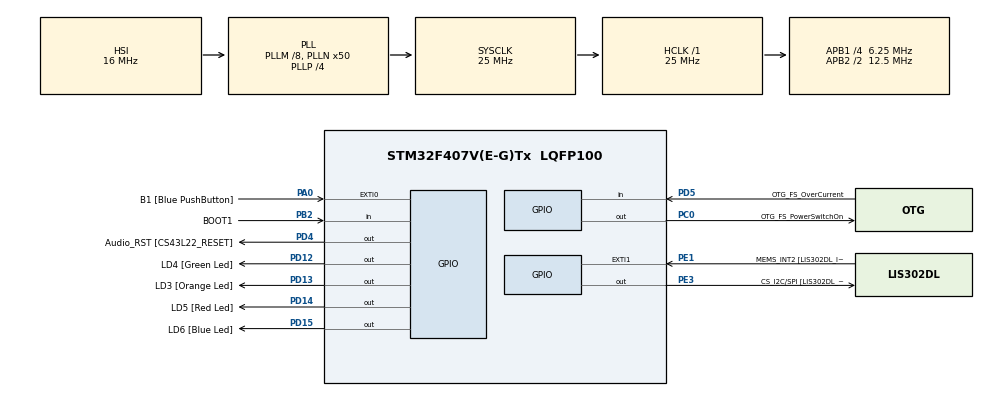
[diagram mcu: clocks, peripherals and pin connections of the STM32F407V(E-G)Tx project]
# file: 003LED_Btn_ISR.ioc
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Mcu.Family=STM32F4
Mcu.Name=STM32F407V(E-G)Tx
Mcu.Package=LQFP100
NVIC.EXTI0_IRQn=true\:6\:0\:true\:false\:true\:true\:true\:true
NVIC.PriorityGroup=NVIC_PRIORITYGROUP_4
NVIC.TIM6_DAC_IRQn=true\:0\:0\:false\:false\:true\:false\:true\:true
NVIC.TimeBase=TIM6_DAC_IRQn
NVIC.TimeBaseIP=TIM6
PA0-WKUP.GPIO_Label=B1 [Blue PushButton]
PA0-WKUP.GPIO_ModeDefaultEXTI=GPIO_MODE_IT_FALLING
PA0-WKUP.Signal=GPXTI0
PA10.GPIO_Label=OTG_FS_ID
PA10.GPIO_Mode=GPIO_MODE_AF_PP
PA10.GPIO_PuPd=GPIO_NOPULL
PA10.GPIO_Speed=GPIO_SPEED_FREQ_LOW
PA10.Signal=USB_OTG_FS_ID
PA11.GPIO_Label=OTG_FS_DM
PA11.GPIO_Mode=GPIO_MODE_AF_PP
PA11.GPIO_PuPd=GPIO_NOPULL
PA11.GPIO_Speed=GPIO_SPEED_FREQ_LOW
PA11.Signal=USB_OTG_FS_DM
PA12.GPIO_Label=OTG_FS_DP
PA12.GPIO_Mode=GPIO_MODE_AF_PP
PA12.GPIO_PuPd=GPIO_NOPULL
PA12.GPIO_Speed=GPIO_SPEED_FREQ_LOW
PA12.Signal=USB_OTG_FS_DP
PA13.GPIO_Label=SWDIO
PA13.Signal=SYS_JTMS-SWDIO
PA14.GPIO_Label=SWCLK
PA14.Signal=SYS_JTCK-SWCLK
PA4.GPIO_Label=I2S3_WS [CS43L22_LRCK]
PA4.GPIO_Mode=GPIO_MODE_AF_PP
PA4.GPIO_PuPd=GPIO_NOPULL
PA4.GPIO_Speed=GPIO_SPEED_FREQ_LOW
PA4.Signal=I2S3_WS
PA5.GPIO_Label=SPI1_SCK [LIS302DL_SCL/SPC]
PA5.GPIO_Mode=GPIO_MODE_AF_PP
PA5.GPIO_PuPd=GPIO_NOPULL
PA5.GPIO_Speed=GPIO_SPEED_FREQ_LOW
PA5.Signal=SPI1_SCK
PA6.GPIO_Label=SPI1_MISO [LIS302DL_SDO]
PA6.GPIO_Mode=GPIO_MODE_AF_PP
PA6.GPIO_PuPd=GPIO_NOPULL
PA6.GPIO_Speed=GPIO_SPEED_FREQ_LOW
PA6.Signal=SPI1_MISO
PA7.GPIO_Label=SPI1_MOSI [LIS302DL_SDA/SDI/SDO]
PA7.GPIO_Mode=GPIO_MODE_AF_PP
PA7.GPIO_PuPd=GPIO_NOPULL
PA7.GPIO_Speed=GPIO_SPEED_FREQ_LOW
PA7.Signal=SPI1_MOSI
PA9.GPIO_Label=VBUS_FS
PA9.GPIO_Mode=GPIO_MODE_INPUT
PA9.GPIO_PuPd=GPIO_NOPULL
PA9.Signal=USB_OTG_FS_VBUS
PB10.GPIO_Label=CLK_IN [MP45DT02_CLK]
PB10.GPIO_Mode=GPIO_MODE_AF_PP
PB10.GPIO_PuPd=GPIO_NOPULL
PB10.GPIO_Speed=GPIO_SPEED_FREQ_LOW
PB10.Signal=I2S2_CK
PB2.GPIO_Label=BOOT1
PB2.GPIO_Mode=GPIO_MODE_INPUT
PB2.GPIO_PuPd=GPIO_NOPULL
PB2.Signal=GPIO_Input
PB3.GPIO_Label=SWO
PB3.Signal=SYS_JTDO-SWO
PB6.GPIO_Label=Audio_SCL [CS43L22_SCL]
PB6.GPIO_Mode=GPIO_MODE_AF_OD
PB6.GPIO_PuPd=GPIO_NOPULL
PB6.GPIO_Speed=GPIO_SPEED_FREQ_LOW
PB6.Signal=I2C1_SCL
PB9.GPIO_Label=Audio_SDA [CS43L22_SDA]
PB9.GPIO_Mode=GPIO_MODE_AF_OD
PB9.GPIO_PuPd=GPIO_NOPULL
PB9.GPIO_Speed=GPIO_SPEED_FREQ_LOW
PB9.Signal=I2C1_SDA
PC0.GPIO_Label=OTG_FS_PowerSwitchOn
PC0.GPIO_PuPd=GPIO_NOPULL
PC0.GPIO_Speed=GPIO_SPEED_FREQ_LOW
PC0.PinState=GPIO_PIN_SET
PC0.Signal=GPIO_Output
PC10.GPIO_Label=I2S3_SCK [CS43L22_SCLK]
PC10.GPIO_Mode=GPIO_MODE_AF_PP
PC10.GPIO_PuPd=GPIO_NOPULL
PC10.GPIO_Speed=GPIO_SPEED_FREQ_LOW
PC10.Signal=I2S3_CK
PC12.GPIO_Label=I2S3_SD [CS43L22_SDIN]
PC12.GPIO_Mode=GPIO_MODE_AF_PP
PC12.GPIO_PuPd=GPIO_NOPULL
PC12.GPIO_Speed=GPIO_SPEED_FREQ_LOW
PC12.Signal=I2S3_SD
PC14-OSC32_IN.GPIO_Label=PC14-OSC32_IN
PC14-OSC32_IN.Signal=RCC_OSC32_IN
PC15-OSC32_OUT.GPIO_Label=PC15-OSC32_OUT
PC15-OSC32_OUT.Signal=RCC_OSC32_OUT
PC3.GPIO_Label=PDM_OUT [MP45DT02_DOUT]
PC3.GPIO_Mode=GPIO_MODE_AF_PP
PC3.GPIO_PuPd=GPIO_NOPULL
PC3.GPIO_Speed=GPIO_SPEED_FREQ_LOW
PC3.Signal=I2S2_SD
PC7.GPIO_Label=I2S3_MCK [CS43L22_MCLK]
PC7.GPIO_Mode=GPIO_MODE_AF_PP
PC7.GPIO_PuPd=GPIO_NOPULL
PC7.GPIO_Speed=GPIO_SPEED_FREQ_LOW
PC7.Signal=I2S3_MCK
PD12.GPIO_Label=LD4 [Green Led]
PD12.GPIO_PuPd=GPIO_NOPULL
PD12.GPIO_Speed=GPIO_SPEED_FREQ_LOW
PD12.Signal=GPIO_Output
PD13.GPIO_Label=LD3 [Orange Led]
PD13.GPIO_PuPd=GPIO_NOPULL
PD13.GPIO_Speed=GPIO_SPEED_FREQ_LOW
PD13.Signal=GPIO_Output
PD14.GPIO_Label=LD5 [Red Led]
PD14.GPIO_PuPd=GPIO_NOPULL
PD14.GPIO_Speed=GPIO_SPEED_FREQ_LOW
PD14.Signal=GPIO_Output
PD15.GPIO_Label=LD6 [Blue Led]
PD15.GPIO_PuPd=GPIO_NOPULL
PD15.GPIO_Speed=GPIO_SPEED_FREQ_LOW
PD15.Signal=GPIO_Output
PD4.GPIO_Label=Audio_RST [CS43L22_RESET]
PD4.GPIO_PuPd=GPIO_NOPULL
PD4.GPIO_Speed=GPIO_SPEED_FREQ_LOW
PD4.Signal=GPIO_Output
PD5.GPIO_Label=OTG_FS_OverCurrent
PD5.GPIO_Mode=GPIO_MODE_INPUT
PD5.GPIO_PuPd=GPIO_NOPULL
PD5.Signal=GPIO_Input
PE1.GPIO_Label=MEMS_INT2 [LIS302DL_INT2]
PE1.GPIO_ModeDefaultEXTI=GPIO_MODE_EVT_RISING
PE1.GPIO_PuPd=GPIO_NOPULL
PE1.Signal=GPXTI1
PE3.GPIO_Label=CS_I2C/SPI [LIS302DL_CS_I2C/SPI]
PE3.GPIO_PuPd=GPIO_NOPULL
PE3.GPIO_Speed=GPIO_SPEED_FREQ_LOW
PE3.Signal=GPIO_Output
PH0-OSC_IN.GPIO_Label=PH0-OSC_IN
PH0-OSC_IN.Signal=RCC_OSC_IN
PH1-OSC_OUT.GPIO_Label=PH1-OSC_OUT
PH1-OSC_OUT.Signal=RCC_OSC_OUT
ProjectManager.HeapSize=0x200
ProjectManager.StackSize=0x400
ProjectManager.TargetToolchain=STM32CubeIDE
RCC.48MHZClocksFreq_Value=14285714.285714285
RCC.AHBFreq_Value=25000000
RCC.APB1CLKDivider=RCC_HCLK_DIV4
RCC.APB1Freq_Value=6250000
RCC.APB1TimFreq_Value=12500000
RCC.APB2CLKDivider=RCC_HCLK_DIV2
RCC.APB2Freq_Value=12500000
RCC.APB2TimFreq_Value=25000000
RCC.CortexFreq_Value=25000000
RCC.HCLKFreq_Value=25000000
RCC.HSE_VALUE=8000000
RCC.HSI_VALUE=16000000
RCC.LSE_VALUE=32768
RCC.PLLM=8
RCC.PLLN=50
RCC.PLLP=RCC_PLLP_DIV4
RCC.PLLQ=7
RCC.SYSCLKFreq_VALUE=25000000
RCC.SYSCLKSource=RCC_SYSCLKSOURCE_PLLCLK
RCC.VCOOutputFreq_Value=100000000
VP_SYS_VS_tim6.Mode=TIM6
board=STM32F407G-DISC1

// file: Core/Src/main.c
/* USER CODE BEGIN Header */
/**
  ******************************************************************************
  * @file           : main.c
  * @brief          : Main program body
  ******************************************************************************
  * @attention
  *
  * Copyright (c) 2026 STMicroelectronics.
  * All rights reserved.
  *
  * This software is licensed under terms that can be found in the LICENSE file
  * in the root directory of this software component.
  * If no LICENSE file comes with this software, it is provided AS-IS.
  *
  ******************************************************************************
  */
/* USER CODE END Header */
#include "main.h"

/* USER CODE BEGIN Includes */
#include "FreeRTOS.h"
#include "task.h"
#include <stdio.h>
#include "semphr.h"
#include <stdlib.h>
/* USER CODE END Includes */

/* USER CODE BEGIN PD */
#define DWT_CTRL (*(volatile uint32_t*)0xE0001000)
/* USER CODE END PD */

void SystemClock_Config(void);
//static void MX_GPIO_Init(void);
/* USER CODE BEGIN PFP */
static void manager_task_handler(void *Parameters);
static void employee_task_handler(void *Parameters);

/*Declare variable of type xSemaphoreHanddle that is used to reference the semaphore that is created to synchronize the two tasks. */
xSemaphoreHandle xWork;
/*create the queue which the manager uses to put the work id that will be used by the employee */
xQueueHandle xWorkQueue;
/* USER CODE END PFP */

int main(void)
{

  /* USER CODE BEGIN 1 */
  TaskHandle_t ManagerTask;
  TaskHandle_t EmployeeTask;
  BaseType_t status;
  /* USER CODE END 1 */

  /* MCU Configuration--------------------------------------------------------*/

  /* Reset of all peripherals, Initializes the Flash interface and the Systick. */
  HAL_Init();

  /* Configure the system clock */
  SystemClock_Config();

  /* Initialize all configured peripherals */

  /* USER CODE BEGIN 2 */
  DWT_CTRL |= (1 << 0);

  /*Dynamic allocation SCB(Semaphore Control Block) on heap */
  vSemaphoreCreateBinary(xWork);

  /* Holds one element and of size of unsigned int */
  xWorkQueue = xQueueCreate(1,sizeof(unsigned int));

  /*Check if the semaphore and queue actually got created and then create the task after that.*/
  if((xWork != NULL) && (xWorkQueue != NULL))
  {
	    status = xTaskCreate(manager_task_handler,"ManageraTask",500,NULL,3,&ManagerTask);
	    configASSERT(status == pdPASS);

	    status =xTaskCreate(employee_task_handler,"EmployeeTask",500,NULL,1,&EmployeeTask);
	    configASSERT(status);

	    //Start the scheduler
	    vTaskStartScheduler();
  }

  /* USER CODE END 2 */

  /* Infinite loop */
  while (1)
  {

  }
}

void SystemClock_Config(void)
{
  RCC_OscInitTypeDef RCC_OscInitStruct = {0};
  RCC_ClkInitTypeDef RCC_ClkInitStruct = {0};

  /** Configure the main internal regulator output voltage
  */
  __HAL_RCC_PWR_CLK_ENABLE();
  __HAL_PWR_VOLTAGESCALING_CONFIG(PWR_REGULATOR_VOLTAGE_SCALE1);

  /** Initializes the RCC Oscillators according to the specified parameters
  * in the RCC_OscInitTypeDef structure.
  */
  RCC_OscInitStruct.OscillatorType = RCC_OSCILLATORTYPE_HSI;
  RCC_OscInitStruct.HSIState = RCC_HSI_ON;
  RCC_OscInitStruct.HSICalibrationValue = RCC_HSICALIBRATION_DEFAULT;
  RCC_OscInitStruct.PLL.PLLState = RCC_PLL_ON;
  RCC_OscInitStruct.PLL.PLLSource = RCC_PLLSOURCE_HSI;
  RCC_OscInitStruct.PLL.PLLM = 8;
  RCC_OscInitStruct.PLL.PLLN = 50;
  RCC_OscInitStruct.PLL.PLLP = RCC_PLLP_DIV4;
  RCC_OscInitStruct.PLL.PLLQ = 7;
  if (HAL_RCC_OscConfig(&RCC_OscInitStruct) != HAL_OK)
  {
    Error_Handler();
  }

  /** Initializes the CPU, AHB and APB buses clocks
  */
  RCC_ClkInitStruct.ClockType = RCC_CLOCKTYPE_HCLK|RCC_CLOCKTYPE_SYSCLK
                              |RCC_CLOCKTYPE_PCLK1|RCC_CLOCKTYPE_PCLK2;
  RCC_ClkInitStruct.SYSCLKSource = RCC_SYSCLKSOURCE_PLLCLK;
  RCC_ClkInitStruct.AHBCLKDivider = RCC_SYSCLK_DIV1;
  RCC_ClkInitStruct.APB1CLKDivider = RCC_HCLK_DIV4;
  RCC_ClkInitStruct.APB2CLKDivider = RCC_HCLK_DIV2;

  if (HAL_RCC_ClockConfig(&RCC_ClkInitStruct, FLASH_LATENCY_0) != HAL_OK)
  {
    Error_Handler();
  }
}

//static void MX_GPIO_Init(void)
//{
//  GPIO_InitTypeDef GPIO_InitStruct = {0};
//  /* USER CODE BEGIN MX_GPIO_Init_1 */
//
//  /* USER CODE END MX_GPIO_Init_1 */
//
//  /* GPIO Ports Clock Enable */
//  __HAL_RCC_GPIOE_CLK_ENABLE();
//  __HAL_RCC_GPIOC_CLK_ENABLE();
//  __HAL_RCC_GPIOH_CLK_ENABLE();
//  __HAL_RCC_GPIOA_CLK_ENABLE();
//  __HAL_RCC_GPIOB_CLK_ENABLE();
//  __HAL_RCC_GPIOD_CLK_ENABLE();
//
//  /*Configure GPIO pin Output Level */
//  HAL_GPIO_WritePin(CS_I2C_SPI_GPIO_Port, CS_I2C_SPI_Pin, GPIO_PIN_RESET);
//
//  /*Configure GPIO pin Output Level */
//  HAL_GPIO_WritePin(OTG_FS_PowerSwitchOn_GPIO_Port, OTG_FS_PowerSwitchOn_Pin, GPIO_PIN_SET);
//
//  /*Configure GPIO pin Output Level */
//  HAL_GPIO_WritePin(GPIOD, LD4_Pin|LD3_Pin|LD5_Pin|LD6_Pin
//                          |Audio_RST_Pin, GPIO_PIN_RESET);
//
//  /*Configure GPIO pin : CS_I2C_SPI_Pin */
//  GPIO_InitStruct.Pin = CS_I2C_SPI_Pin;
//  GPIO_InitStruct.Mode = GPIO_MODE_OUTPUT_PP;
//  GPIO_InitStruct.Pull = GPIO_NOPULL;
//  GPIO_InitStruct.Speed = GPIO_SPEED_FREQ_LOW;
//  HAL_GPIO_Init(CS_I2C_SPI_GPIO_Port, &GPIO_InitStruct);
//
//  /*Configure GPIO pin : OTG_FS_PowerSwitchOn_Pin */
//  GPIO_InitStruct.Pin = OTG_FS_PowerSwitchOn_Pin;
//  GPIO_InitStruct.Mode = GPIO_MODE_OUTPUT_PP;
//  GPIO_InitStruct.Pull = GPIO_NOPULL;
//  GPIO_InitStruct.Speed = GPIO_SPEED_FREQ_LOW;
//  HAL_GPIO_Init(OTG_FS_PowerSwitchOn_GPIO_Port, &GPIO_InitStruct);
//
//  /*Configure GPIO pin : PDM_OUT_Pin */
//  GPIO_InitStruct.Pin = PDM_OUT_Pin;
//  GPIO_InitStruct.Mode = GPIO_MODE_AF_PP;
//  GPIO_InitStruct.Pull = GPIO_NOPULL;
//  GPIO_InitStruct.Speed = GPIO_SPEED_FREQ_LOW;
//  GPIO_InitStruct.Alternate = GPIO_AF5_SPI2;
//  HAL_GPIO_Init(PDM_OUT_GPIO_Port, &GPIO_InitStruct);
//
//  /*Configure GPIO pin : B1_Pin */
//  GPIO_InitStruct.Pin = B1_Pin;
//  GPIO_InitStruct.Mode = GPIO_MODE_IT_RISING;
//  GPIO_InitStruct.Pull = GPIO_NOPULL;
//  HAL_GPIO_Init(B1_GPIO_Port, &GPIO_InitStruct);
//
//  /*Configure GPIO pin : I2S3_WS_Pin */
//  GPIO_InitStruct.Pin = I2S3_WS_Pin;
//  GPIO_InitStruct.Mode = GPIO_MODE_AF_PP;
//  GPIO_InitStruct.Pull = GPIO_NOPULL;
//  GPIO_InitStruct.Speed = GPIO_SPEED_FREQ_LOW;
//  GPIO_InitStruct.Alternate = GPIO_AF6_SPI3;
//  HAL_GPIO_Init(I2S3_WS_GPIO_Port, &GPIO_InitStruct);
//
//  /*Configure GPIO pins : SPI1_SCK_Pin SPI1_MISO_Pin SPI1_MOSI_Pin */
//  GPIO_InitStruct.Pin = SPI1_SCK_Pin|SPI1_MISO_Pin|SPI1_MOSI_Pin;
//  GPIO_InitStruct.Mode = GPIO_MODE_AF_PP;
//  GPIO_InitStruct.Pull = GPIO_NOPULL;
//  GPIO_InitStruct.Speed = GPIO_SPEED_FREQ_LOW;
//  GPIO_InitStruct.Alternate = GPIO_AF5_SPI1;
//  HAL_GPIO_Init(GPIOA, &GPIO_InitStruct);
//
//  /*Configure GPIO pin : BOOT1_Pin */
//  GPIO_InitStruct.Pin = BOOT1_Pin;
//  GPIO_InitStruct.Mode = GPIO_MODE_INPUT;
//  GPIO_InitStruct.Pull = GPIO_NOPULL;
//  HAL_GPIO_Init(BOOT1_GPIO_Port, &GPIO_InitStruct);
//
//  /*Configure GPIO pin : CLK_IN_Pin */
//  GPIO_InitStruct.Pin = CLK_IN_Pin;
//  GPIO_InitStruct.Mode = GPIO_MODE_AF_PP;
//  GPIO_InitStruct.Pull = GPIO_NOPULL;
//  GPIO_InitStruct.Speed = GPIO_SPEED_FREQ_LOW;
//  GPIO_InitStruct.Alternate = GPIO_AF5_SPI2;
//  HAL_GPIO_Init(CLK_IN_GPIO_Port, &GPIO_InitStruct);
//
//  /*Configure GPIO pins : LD4_Pin LD3_Pin LD5_Pin LD6_Pin
//                           Audio_RST_Pin */
//  GPIO_InitStruct.Pin = LD4_Pin|LD3_Pin|LD5_Pin|LD6_Pin
//                          |Audio_RST_Pin;
//  GPIO_InitStruct.Mode = GPIO_MODE_OUTPUT_PP;
//  GPIO_InitStruct.Pull = GPIO_NOPULL;
//  GPIO_InitStruct.Speed = GPIO_SPEED_FREQ_LOW;
//  HAL_GPIO_Init(GPIOD, &GPIO_InitStruct);
//
//  /*Configure GPIO pins : I2S3_MCK_Pin I2S3_SCK_Pin I2S3_SD_Pin */
//  GPIO_InitStruct.Pin = I2S3_MCK_Pin|I2S3_SCK_Pin|I2S3_SD_Pin;
//  GPIO_InitStruct.Mode = GPIO_MODE_AF_PP;
//  GPIO_InitStruct.Pull = GPIO_NOPULL;
//  GPIO_InitStruct.Speed = GPIO_SPEED_FREQ_LOW;
//  GPIO_InitStruct.Alternate = GPIO_AF6_SPI3;
//  HAL_GPIO_Init(GPIOC, &GPIO_InitStruct);
//
//  /*Configure GPIO pin : VBUS_FS_Pin */
//  GPIO_InitStruct.Pin = VBUS_FS_Pin;
//  GPIO_InitStruct.Mode = GPIO_MODE_INPUT;
//  GPIO_InitStruct.Pull = GPIO_NOPULL;
//  HAL_GPIO_Init(VBUS_FS_GPIO_Port, &GPIO_InitStruct);
//
//  /*Configure GPIO pins : OTG_FS_ID_Pin OTG_FS_DM_Pin OTG_FS_DP_Pin */
//  GPIO_InitStruct.Pin = OTG_FS_ID_Pin|OTG_FS_DM_Pin|OTG_FS_DP_Pin;
//  GPIO_InitStruct.Mode = GPIO_MODE_AF_PP;
//  GPIO_InitStruct.Pull = GPIO_NOPULL;
//  GPIO_InitStruct.Speed = GPIO_SPEED_FREQ_LOW;
//  GPIO_InitStruct.Alternate = GPIO_AF10_OTG_FS;
//  HAL_GPIO_Init(GPIOA, &GPIO_InitStruct);
//
//  /*Configure GPIO pin : OTG_FS_OverCurrent_Pin */
//  GPIO_InitStruct.Pin = OTG_FS_OverCurrent_Pin;
//  GPIO_InitStruct.Mode = GPIO_MODE_INPUT;
//  GPIO_InitStruct.Pull = GPIO_NOPULL;
//  HAL_GPIO_Init(OTG_FS_OverCurrent_GPIO_Port, &GPIO_InitStruct);
//
//  /*Configure GPIO pins : Audio_SCL_Pin Audio_SDA_Pin */
//  GPIO_InitStruct.Pin = Audio_SCL_Pin|Audio_SDA_Pin;
//  GPIO_InitStruct.Mode = GPIO_MODE_AF_OD;
//  GPIO_InitStruct.Pull = GPIO_NOPULL;
//  GPIO_InitStruct.Speed = GPIO_SPEED_FREQ_LOW;
//  GPIO_InitStruct.Alternate = GPIO_AF4_I2C1;
//  HAL_GPIO_Init(GPIOB, &GPIO_InitStruct);
//
//  /*Configure GPIO pin : MEMS_INT2_Pin */
//  GPIO_InitStruct.Pin = MEMS_INT2_Pin;
//  GPIO_InitStruct.Mode = GPIO_MODE_EVT_RISING;
//  GPIO_InitStruct.Pull = GPIO_NOPULL;
//  HAL_GPIO_Init(MEMS_INT2_GPIO_Port, &GPIO_InitStruct);
//
//  /* USER CODE BEGIN MX_GPIO_Init_2 */
//
//  /* USER CODE END MX_GPIO_Init_2 */
//}

/* USER CODE BEGIN 4 */
static void EmployeeDoWork(unsigned char xWorkTicketId)
{
	printf("Working on ticket ID: %s\n",&xWorkTicketId);
	vTaskDelay(xWorkTicketId);
}
static void manager_task_handler(void *Parameters)
{
	unsigned int xWorkTicketID;
	portBASE_TYPE xStatus;

	/* The Semaphore is created in an empty state meaning the semaphore must be first given by using the proper APi before it can be obtained by another task.*/
	xSemaphoreGive(xWork);
	/* Why the Employee actually gets to run (the queue, not the yield):
	 * 1. Manager (prio 3) runs first; Employee (prio 1) is lower priority.
	 * 2. Iter 1: queue is empty, so xQueueSend succeeds at once (queue now full, len 1).
	 *    The give + taskYIELD() does NOT start the Employee: yield only switches to an
	 *    equal/higher-priority task, so the Manager just keeps running.
	 * 3. Iter 2: queue is already full, so xQueueSend(portMAX_DELAY) BLOCKS the Manager.
	 * 4. Only now, with the Manager blocked, is the Employee the highest ready task -> it runs.
	 * So the full queue (not the semaphore/yield) is what lets the Employee run. */

	while(1)
	{
		// Create a random work ticket id using rand.
		xWorkTicketID= (rand() & 0x1FF);
		//Send the ticket id to the queue
		xStatus = xQueueSend(xWorkQueue,&xWorkTicketID,portMAX_DELAY);

		if(xStatus != pdPASS)
		{
			printf("Could not send to the queue.\r\n");
		}
		else
		{
			/* Manager notifies the employee by giving the semaphore */
			xSemaphoreGive(xWork);
			/* yield only reaches equal/higher-priority tasks, so NOT the Employee here;
			* the Employee runs later when the next xQueueSend blocks on the full queue */
		    taskYIELD();
		}

	}
}
static void employee_task_handler(void *Parameters)
{
	unsigned char xWorkTicketId;
	portBASE_TYPE xstatus;

	while(1)
	{
        /* First employee tries to take the semaphore*/
		xstatus = xSemaphoreTake(xWork, 0);
        if(xstatus == pdPASS)
        {
        	/* If we are here that means semaphore take is successful and we need to get the ticket id from the work queue. */
			xstatus = xQueueReceive(xWorkQueue, &xWorkTicketId, 0);

			if(xstatus == pdPASS)
			{
				/* Employee may decode the xWorkTicketID in this function to do the work.*/
				EmployeeDoWork(xWorkTicketId);
			}
			else
			{
				printf("Employee task queue is empty, an error occurred \n");

			}
        }

	}
}
/* USER CODE END 4 */

void HAL_TIM_PeriodElapsedCallback(TIM_HandleTypeDef *htim)
{
  if (htim->Instance == TIM6)
  {
    HAL_IncTick();
  }
}

void Error_Handler(void)
{
  __disable_irq();
  while (1)
  {
  }
}
